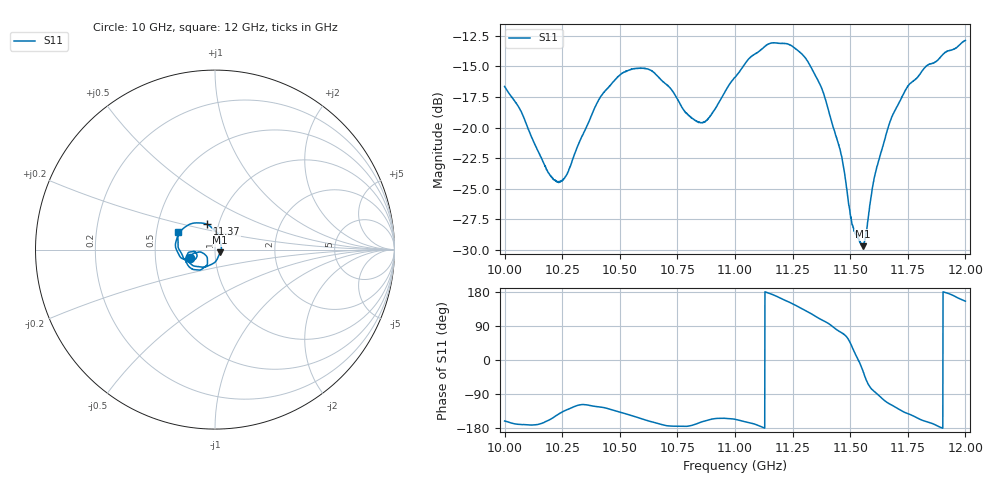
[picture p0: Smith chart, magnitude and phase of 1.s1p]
[Version] 2.0
! Rohde & Schwarz Vector Network Analyzer
! Rohde-Schwarz,ZNL20-2Port,1323001220200009,1.71.1.10-23.02.1.238
! Port Assignments:
! Nominal Port -> Actual Test Port
!  1 -> 1
! Created: GMT 2024-08-27 12:46:44
# Hz S DB R 50
[Number of Ports] 1
! freq[Hz]  S11[mag dB]  S11[ang]
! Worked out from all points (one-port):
!   2001 points, 10 GHz to 12 GHz, reference 50 ohm
!   lowest |S11| = -29.7 dB at 11.55 GHz (marker M1), VSWR 1.07, Z = 53 - j1.53 ohm
!   |S11| at or under -10 dB: start of sweep to end of sweep
!   S11 on the Smith chart (normalised r, x): 10 GHz: 0.75, -0.07; 11.37 GHz: 0.88, +0.25; 12 GHz: 0.65, +0.13
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[Number of Frequencies] 28
[Network Data]
1e10  -16.64 -161.0
1.0069e10  -18.60 -170.2
1.019e10  -23.70 -159.3
1.025e10  -24.33 -137.2
1.0275e10  -23.63 -130.1
1.0407e10  -17.77 -123.6
1.05e10  -15.70 -137.6
1.0628e10  -15.26 -161.4
1.075e10  -17.66 -174.7
1.0803e10  -19.07 -173.8
1.0864e10  -19.57 -161.6
1.1e10  -15.89 -156.6
1.1064e10  -14.30 -165.5
1.1143e10  -13.18 177.1
1.125e10  -13.35 148.2
1.1309e10  -14.38 129.6
1.1373e10  -16.63 106.9
1.1458e10  -21.97 73.8
1.15e10  -27.11 45.5
1.1517e10  -28.41 22.7
1.1554e10  -29.70 -26.2
1.1568e10  -28.78 -50.7
1.1607e10  -23.91 -84.2
1.1657e10  -20.48 -110.6
1.1685e10  -18.94 -120.6
1.175e10  -16.64 -141.5
1.1908e10  -13.91 179.1
1.2e10  -12.87 155.2
[End]
